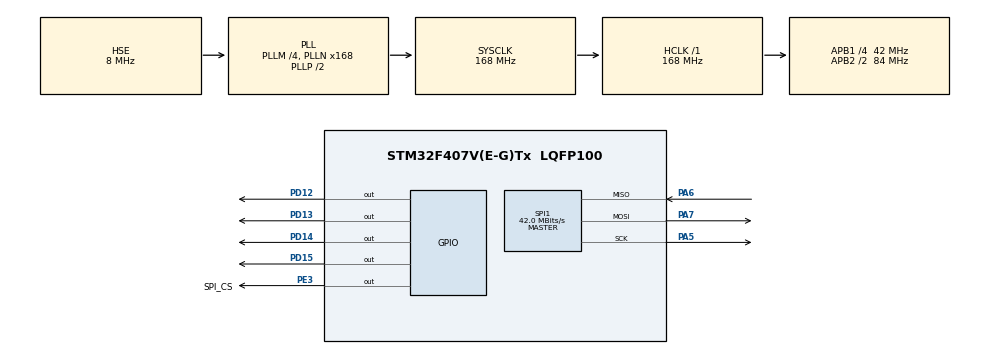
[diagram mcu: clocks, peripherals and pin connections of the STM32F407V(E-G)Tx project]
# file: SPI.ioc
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Mcu.Family=STM32F4
Mcu.Name=STM32F407V(E-G)Tx
Mcu.Package=LQFP100
NVIC.PriorityGroup=NVIC_PRIORITYGROUP_4
PA5.Mode=Full_Duplex_Master
PA5.Signal=SPI1_SCK
PA6.Mode=Full_Duplex_Master
PA6.Signal=SPI1_MISO
PA7.Mode=Full_Duplex_Master
PA7.Signal=SPI1_MOSI
PD12.Signal=GPIO_Output
PD13.Signal=GPIO_Output
PD14.Signal=GPIO_Output
PD15.Signal=GPIO_Output
PE3.GPIO_Label=SPI_CS
PE3.PinState=GPIO_PIN_SET
PE3.Signal=GPIO_Output
PH0-OSC_IN.Mode=HSE-External-Oscillator
PH0-OSC_IN.Signal=RCC_OSC_IN
PH1-OSC_OUT.Mode=HSE-External-Oscillator
PH1-OSC_OUT.Signal=RCC_OSC_OUT
ProjectManager.HeapSize=0x200
ProjectManager.StackSize=0x400
ProjectManager.TargetToolchain=MDK-ARM V5
RCC.48MHZClocksFreq_Value=84000000
RCC.AHBFreq_Value=168000000
RCC.APB1CLKDivider=RCC_HCLK_DIV4
RCC.APB1Freq_Value=42000000
RCC.APB1TimFreq_Value=84000000
RCC.APB2CLKDivider=RCC_HCLK_DIV2
RCC.APB2Freq_Value=84000000
RCC.APB2TimFreq_Value=168000000
RCC.CortexFreq_Value=168000000
RCC.HCLKFreq_Value=168000000
RCC.HSE_VALUE=8000000
RCC.HSI_VALUE=16000000
RCC.LSE_VALUE=32768
RCC.PLLM=4
RCC.PLLN=168
RCC.PLLSourceVirtual=RCC_PLLSOURCE_HSE
RCC.SYSCLKFreq_VALUE=168000000
RCC.SYSCLKSource=RCC_SYSCLKSOURCE_PLLCLK
RCC.VCOOutputFreq_Value=336000000
SPI1.BaudRatePrescaler=SPI_BAUDRATEPRESCALER_2
SPI1.CalculateBaudRate=42.0 MBits/s
SPI1.Direction=SPI_DIRECTION_2LINES
SPI1.Mode=SPI_MODE_MASTER
SPI1.VirtualType=VM_MASTER
board=custom

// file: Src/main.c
/* USER CODE BEGIN Header */
/**
  ******************************************************************************
  * @file           : main.c
  * @brief          : Main program body
  ******************************************************************************
  ** This notice applies to any and all portions of this file
  * that are not between comment pairs USER CODE BEGIN and
  * USER CODE END. Other portions of this file, whether
  * inserted by the user or by software development tools
  * are owned by their respective copyright owners.
  *
  * COPYRIGHT(c) 2018 STMicroelectronics
  *
  * Redistribution and use in source and binary forms, with or without modification,
  * are permitted provided that the following conditions are met:
  *   1. Redistributions of source code must retain the above copyright notice,
  *      this list of conditions and the following disclaimer.
  *   2. Redistributions in binary form must reproduce the above copyright notice,
  *      this list of conditions and the following disclaimer in the documentation
  *      and/or other materials provided with the distribution.
  *   3. Neither the name of STMicroelectronics nor the names of its contributors
  *      may be used to endorse or promote products derived from this software
  *      without specific prior written permission.
  *
  * THIS SOFTWARE IS PROVIDED BY THE COPYRIGHT HOLDERS AND CONTRIBUTORS "AS IS"
  * AND ANY EXPRESS OR IMPLIED WARRANTIES, INCLUDING, BUT NOT LIMITED TO, THE
  * IMPLIED WARRANTIES OF MERCHANTABILITY AND FITNESS FOR A PARTICULAR PURPOSE ARE
  * DISCLAIMED. IN NO EVENT SHALL THE COPYRIGHT HOLDER OR CONTRIBUTORS BE LIABLE
  * FOR ANY DIRECT, INDIRECT, INCIDENTAL, SPECIAL, EXEMPLARY, OR CONSEQUENTIAL
  * DAMAGES (INCLUDING, BUT NOT LIMITED TO, PROCUREMENT OF SUBSTITUTE GOODS OR
  * SERVICES; LOSS OF USE, DATA, OR PROFITS; OR BUSINESS INTERRUPTION) HOWEVER
  * CAUSED AND ON ANY THEORY OF LIABILITY, WHETHER IN CONTRACT, STRICT LIABILITY,
  * OR TORT (INCLUDING NEGLIGENCE OR OTHERWISE) ARISING IN ANY WAY OUT OF THE USE
  * OF THIS SOFTWARE, EVEN IF ADVISED OF THE POSSIBILITY OF SUCH DAMAGE.
  *
  ******************************************************************************
  */
/* USER CODE END Header */

#include "main.h"

/* USER CODE BEGIN Includes */
/*
SPI ile motion sensörüne baglanir
gelen verilere göre ledleri kontrol eder
*/
/* USER CODE END Includes */

SPI_HandleTypeDef hspi1;

/* USER CODE BEGIN PV */
	uint8_t x = 0, y = 0, z = 0, who_am_i = 0, address = 0x20;

/* USER CODE END PV */

void SystemClock_Config(void);
static void MX_GPIO_Init(void);
static void MX_SPI1_Init(void);
/* USER CODE BEGIN PFP */
void SPI_Tx(uint8_t address, uint8_t data)
{
	uint8_t txData[2];
	txData[0] = address;
	txData[1] = data;
	HAL_GPIO_WritePin(GPIOE,GPIO_PIN_3,GPIO_PIN_RESET);
	HAL_SPI_Transmit(&hspi1,txData,2,100);
	HAL_GPIO_WritePin(GPIOE,GPIO_PIN_3,GPIO_PIN_SET);
}
uint8_t SPI_Rx(uint8_t address)
{
	uint8_t result[1], txBuff[2];
	txBuff[0] = 0x80|address;
	HAL_GPIO_WritePin(GPIOE,GPIO_PIN_3,GPIO_PIN_RESET);
	HAL_SPI_Transmit(&hspi1,txBuff,1,100);
	HAL_SPI_Receive(&hspi1,result,1,100);
	HAL_GPIO_WritePin(GPIOE,GPIO_PIN_3,GPIO_PIN_SET);
	return result[0];
}
/* USER CODE END PFP */

int main(void)
{

  /* MCU Configuration--------------------------------------------------------*/

  /* Reset of all peripherals, Initializes the Flash interface and the Systick. */
  HAL_Init();

  /* Configure the system clock */
  SystemClock_Config();

  /* Initialize all configured peripherals */
  MX_GPIO_Init();
  MX_SPI1_Init();
  /* USER CODE BEGIN 2 */
	SPI_Tx(address,0x67);  	//100 Hz , 9.2 G
	//SPI_Tx(0x20,0x47);  //100 Hz , 2.3 G

  /* USER CODE END 2 */

  /* Infinite loop */
  while (1)
  {

    /* USER CODE BEGIN 3 */

		HAL_Delay(250);
		who_am_i 	= SPI_Rx(0x0F);
		x				 	=	SPI_Rx(0x29);
		y					=	SPI_Rx(0x2B);
		z					=	SPI_Rx(0x2D);

		if(y >= 5 && y < 30)
		{
			HAL_GPIO_WritePin(GPIOD,GPIO_PIN_13,GPIO_PIN_SET); 			// orange
			HAL_GPIO_WritePin(GPIOD,GPIO_PIN_15,GPIO_PIN_RESET); 		// blue
		}
		else if (y <= 250 && y > 200)
		{
			HAL_GPIO_WritePin(GPIOD,GPIO_PIN_15,GPIO_PIN_SET); 			// blue
			HAL_GPIO_WritePin(GPIOD,GPIO_PIN_13,GPIO_PIN_RESET); 		// orange
		}

		 if (x >= 5 && x <30  )
		{
			HAL_GPIO_WritePin(GPIOD,GPIO_PIN_14,GPIO_PIN_SET); 			// red
			HAL_GPIO_WritePin(GPIOD,GPIO_PIN_12,GPIO_PIN_RESET); 		// green
		}
		else if (x <= 250 && x > 200 )
		{
			HAL_GPIO_WritePin(GPIOD,GPIO_PIN_12,GPIO_PIN_SET); 			// green
			HAL_GPIO_WritePin(GPIOD,GPIO_PIN_14,GPIO_PIN_RESET); 		// red
		}

		if(y < 5 || y > 255)
		{
			HAL_GPIO_WritePin(GPIOD,GPIO_PIN_15,GPIO_PIN_RESET); 		// blue
			HAL_GPIO_WritePin(GPIOD,GPIO_PIN_13,GPIO_PIN_RESET); 		// orange
		}

			if(x < 5 || x > 255)
		{
			HAL_GPIO_WritePin(GPIOD,GPIO_PIN_12,GPIO_PIN_RESET); 		// green
			HAL_GPIO_WritePin(GPIOD,GPIO_PIN_14,GPIO_PIN_RESET); 		// red
		}

  }
  /* USER CODE END 3 */
}

void SystemClock_Config(void)
{
  RCC_OscInitTypeDef RCC_OscInitStruct = {0};
  RCC_ClkInitTypeDef RCC_ClkInitStruct = {0};

  /**Configure the main internal regulator output voltage
  */
  __HAL_RCC_PWR_CLK_ENABLE();
  __HAL_PWR_VOLTAGESCALING_CONFIG(PWR_REGULATOR_VOLTAGE_SCALE1);
  /**Initializes the CPU, AHB and APB busses clocks
  */
  RCC_OscInitStruct.OscillatorType = RCC_OSCILLATORTYPE_HSE;
  RCC_OscInitStruct.HSEState = RCC_HSE_ON;
  RCC_OscInitStruct.PLL.PLLState = RCC_PLL_ON;
  RCC_OscInitStruct.PLL.PLLSource = RCC_PLLSOURCE_HSE;
  RCC_OscInitStruct.PLL.PLLM = 4;
  RCC_OscInitStruct.PLL.PLLN = 168;
  RCC_OscInitStruct.PLL.PLLP = RCC_PLLP_DIV2;
  RCC_OscInitStruct.PLL.PLLQ = 4;
  if (HAL_RCC_OscConfig(&RCC_OscInitStruct) != HAL_OK)
  {
    Error_Handler();
  }
  /**Initializes the CPU, AHB and APB busses clocks
  */
  RCC_ClkInitStruct.ClockType = RCC_CLOCKTYPE_HCLK|RCC_CLOCKTYPE_SYSCLK
                              |RCC_CLOCKTYPE_PCLK1|RCC_CLOCKTYPE_PCLK2;
  RCC_ClkInitStruct.SYSCLKSource = RCC_SYSCLKSOURCE_PLLCLK;
  RCC_ClkInitStruct.AHBCLKDivider = RCC_SYSCLK_DIV1;
  RCC_ClkInitStruct.APB1CLKDivider = RCC_HCLK_DIV4;
  RCC_ClkInitStruct.APB2CLKDivider = RCC_HCLK_DIV2;

  if (HAL_RCC_ClockConfig(&RCC_ClkInitStruct, FLASH_LATENCY_5) != HAL_OK)
  {
    Error_Handler();
  }
}

static void MX_SPI1_Init(void)
{

  /* SPI1 parameter configuration*/
  hspi1.Instance = SPI1;
  hspi1.Init.Mode = SPI_MODE_MASTER;
  hspi1.Init.Direction = SPI_DIRECTION_2LINES;
  hspi1.Init.DataSize = SPI_DATASIZE_8BIT;
  hspi1.Init.CLKPolarity = SPI_POLARITY_LOW;
  hspi1.Init.CLKPhase = SPI_PHASE_1EDGE;
  hspi1.Init.NSS = SPI_NSS_SOFT;
  hspi1.Init.BaudRatePrescaler = SPI_BAUDRATEPRESCALER_2;
  hspi1.Init.FirstBit = SPI_FIRSTBIT_MSB;
  hspi1.Init.TIMode = SPI_TIMODE_DISABLE;
  hspi1.Init.CRCCalculation = SPI_CRCCALCULATION_DISABLE;
  hspi1.Init.CRCPolynomial = 10;
  if (HAL_SPI_Init(&hspi1) != HAL_OK)
  {
    Error_Handler();
  }

}

static void MX_GPIO_Init(void)
{
  GPIO_InitTypeDef GPIO_InitStruct = {0};

  /* GPIO Ports Clock Enable */
  __HAL_RCC_GPIOE_CLK_ENABLE();
  __HAL_RCC_GPIOH_CLK_ENABLE();
  __HAL_RCC_GPIOA_CLK_ENABLE();
  __HAL_RCC_GPIOD_CLK_ENABLE();

  /*Configure GPIO pin Output Level */
  HAL_GPIO_WritePin(SPI_CS_GPIO_Port, SPI_CS_Pin, GPIO_PIN_SET);

  /*Configure GPIO pin Output Level */
  HAL_GPIO_WritePin(GPIOD, GPIO_PIN_12|GPIO_PIN_13|GPIO_PIN_14|GPIO_PIN_15, GPIO_PIN_RESET);

  /*Configure GPIO pin : SPI_CS_Pin */
  GPIO_InitStruct.Pin = SPI_CS_Pin;
  GPIO_InitStruct.Mode = GPIO_MODE_OUTPUT_PP;
  GPIO_InitStruct.Pull = GPIO_NOPULL;
  GPIO_InitStruct.Speed = GPIO_SPEED_FREQ_LOW;
  HAL_GPIO_Init(SPI_CS_GPIO_Port, &GPIO_InitStruct);

  /*Configure GPIO pins : PD12 PD13 PD14 PD15 */
  GPIO_InitStruct.Pin = GPIO_PIN_12|GPIO_PIN_13|GPIO_PIN_14|GPIO_PIN_15;
  GPIO_InitStruct.Mode = GPIO_MODE_OUTPUT_PP;
  GPIO_InitStruct.Pull = GPIO_NOPULL;
  GPIO_InitStruct.Speed = GPIO_SPEED_FREQ_LOW;
  HAL_GPIO_Init(GPIOD, &GPIO_InitStruct);

}

void Error_Handler(void)
{
}

/************************ (C) COPYRIGHT STMicroelectronics *****END OF FILE****/
